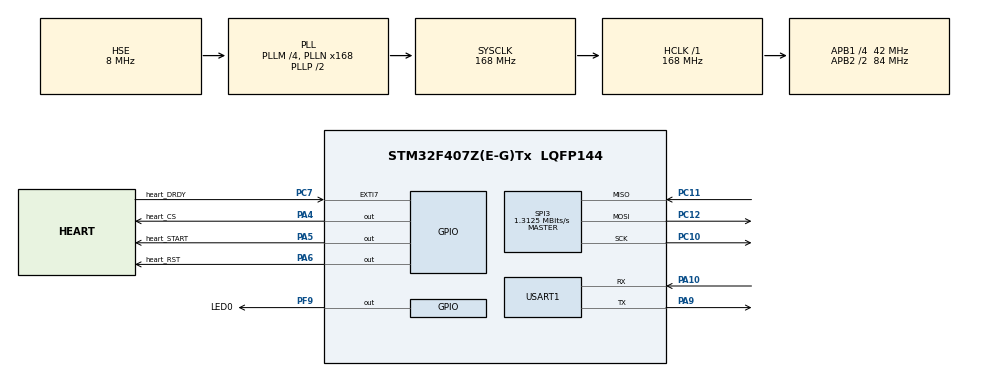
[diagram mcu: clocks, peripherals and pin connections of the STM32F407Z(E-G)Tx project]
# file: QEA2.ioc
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Dma.Request0=USART1_RX
Dma.Request1=USART1_TX
Dma.USART1_RX.0.Direction=DMA_PERIPH_TO_MEMORY
Dma.USART1_RX.0.FIFOMode=DMA_FIFOMODE_DISABLE
Dma.USART1_RX.0.Instance=DMA2_Stream2
Dma.USART1_RX.0.MemDataAlignment=DMA_MDATAALIGN_BYTE
Dma.USART1_RX.0.MemInc=DMA_MINC_ENABLE
Dma.USART1_RX.0.Mode=DMA_NORMAL
Dma.USART1_RX.0.PeriphDataAlignment=DMA_PDATAALIGN_BYTE
Dma.USART1_RX.0.PeriphInc=DMA_PINC_DISABLE
Dma.USART1_RX.0.Priority=DMA_PRIORITY_MEDIUM
Dma.USART1_TX.1.Direction=DMA_MEMORY_TO_PERIPH
Dma.USART1_TX.1.FIFOMode=DMA_FIFOMODE_DISABLE
Dma.USART1_TX.1.Instance=DMA2_Stream7
Dma.USART1_TX.1.MemDataAlignment=DMA_MDATAALIGN_BYTE
Dma.USART1_TX.1.MemInc=DMA_MINC_ENABLE
Dma.USART1_TX.1.Mode=DMA_NORMAL
Dma.USART1_TX.1.PeriphDataAlignment=DMA_PDATAALIGN_BYTE
Dma.USART1_TX.1.PeriphInc=DMA_PINC_DISABLE
Dma.USART1_TX.1.Priority=DMA_PRIORITY_MEDIUM
Mcu.Family=STM32F4
Mcu.Name=STM32F407Z(E-G)Tx
Mcu.Package=LQFP144
NVIC.DMA2_Stream2_IRQn=true\:0\:0\:false\:false\:true\:false\:true\:true
NVIC.DMA2_Stream7_IRQn=true\:0\:0\:false\:false\:true\:false\:true\:true
NVIC.EXTI9_5_IRQn=true\:1\:0\:true\:false\:true\:true\:true\:true
NVIC.PriorityGroup=NVIC_PRIORITYGROUP_4
NVIC.SPI3_IRQn=true\:2\:0\:true\:false\:true\:true\:true\:true
NVIC.USART1_IRQn=true\:0\:0\:false\:false\:true\:true\:true\:true
PA10.Mode=Asynchronous
PA10.Signal=USART1_RX
PA13.Mode=Serial_Wire
PA13.Signal=SYS_JTMS-SWDIO
PA14.Mode=Serial_Wire
PA14.Signal=SYS_JTCK-SWCLK
PA4.GPIO_Label=heart_CS
PA4.GPIO_Speed=GPIO_SPEED_FREQ_HIGH
PA4.Signal=GPIO_Output
PA5.GPIO_Label=heart_START
PA5.GPIO_Speed=GPIO_SPEED_FREQ_HIGH
PA5.Signal=GPIO_Output
PA6.GPIO_Label=heart_RST
PA6.GPIO_Speed=GPIO_SPEED_FREQ_HIGH
PA6.PinState=GPIO_PIN_SET
PA6.Signal=GPIO_Output
PA9.Mode=Asynchronous
PA9.Signal=USART1_TX
PC10.Mode=Full_Duplex_Master
PC10.Signal=SPI3_SCK
PC11.Mode=Full_Duplex_Master
PC11.Signal=SPI3_MISO
PC12.Mode=Full_Duplex_Master
PC12.Signal=SPI3_MOSI
PC7.GPIO_Label=heart_DRDY
PC7.GPIO_ModeDefaultEXTI=GPIO_MODE_IT_FALLING
PC7.GPIO_PuPd=GPIO_PULLUP
PC7.Signal=GPXTI7
PF9.GPIO_Label=LED0
PF9.GPIO_Speed=GPIO_SPEED_FREQ_HIGH
PF9.Signal=GPIO_Output
PH0-OSC_IN.Mode=HSE-External-Oscillator
PH0-OSC_IN.Signal=RCC_OSC_IN
PH1-OSC_OUT.Mode=HSE-External-Oscillator
PH1-OSC_OUT.Signal=RCC_OSC_OUT
ProjectManager.HeapSize=0x200
ProjectManager.StackSize=0x400
ProjectManager.TargetToolchain=STM32CubeIDE
RCC.48MHZClocksFreq_Value=84000000
RCC.AHBFreq_Value=168000000
RCC.APB1CLKDivider=RCC_HCLK_DIV4
RCC.APB1Freq_Value=42000000
RCC.APB1TimFreq_Value=84000000
RCC.APB2CLKDivider=RCC_HCLK_DIV2
RCC.APB2Freq_Value=84000000
RCC.APB2TimFreq_Value=168000000
RCC.CortexFreq_Value=168000000
RCC.HCLKFreq_Value=168000000
RCC.HSE_VALUE=8000000
RCC.HSI_VALUE=16000000
RCC.LSE_VALUE=32768
RCC.PLLM=4
RCC.PLLN=168
RCC.PLLSourceVirtual=RCC_PLLSOURCE_HSE
RCC.SYSCLKFreq_VALUE=168000000
RCC.SYSCLKSource=RCC_SYSCLKSOURCE_PLLCLK
RCC.VCOOutputFreq_Value=336000000
SPI3.BaudRatePrescaler=SPI_BAUDRATEPRESCALER_32
SPI3.CLKPhase=SPI_PHASE_2EDGE
SPI3.CalculateBaudRate=1.3125 MBits/s
SPI3.Direction=SPI_DIRECTION_2LINES
SPI3.Mode=SPI_MODE_MASTER
SPI3.VirtualType=VM_MASTER
USART1.VirtualMode=VM_ASYNC
board=custom

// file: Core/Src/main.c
/* USER CODE BEGIN Header */
/**
  ******************************************************************************
  * @file           : main.c
  * @brief          : Main program body
  ******************************************************************************
  * @attention
  *
  * Copyright (c) 2023 STMicroelectronics.
  * All rights reserved.
  *
  * This software is licensed under terms that can be found in the LICENSE file
  * in the root directory of this software component.
  * If no LICENSE file comes with this software, it is provided AS-IS.
  *
  ******************************************************************************
  */
/* USER CODE END Header */
#include "main.h"
#include "dma.h"
#include "spi.h"
#include "usart.h"
#include "gpio.h"

/* USER CODE BEGIN Includes */
#include <stdio.h>
#include "ADS1292.h"
#include "IIRFilter.h"
#include "FIRFilter.h"
/* USER CODE END Includes */

void SystemClock_Config(void);

/* USER CODE BEGIN 0 */
uint8_t intBuffer[] = "DRDY Toggle!\n";
int loop = 25;
int count = 0;

void HAL_GPIO_EXTI_Callback(uint16_t GPIO_Pin)
{
    if(GPIO_Pin == GPIO_PIN_7)
    {
        ADS1292ReadData();
        IIRFilter(heartRawData);
        FIRFilter(IIR_Result);
    }
    //HAL_GPIO_TogglePin(LED0_GPIO_Port,LED0_Pin);
}

int fputc(int c,FILE *stream)
{
    uint8_t ch[1]={c};
    HAL_UART_Transmit(&huart1,ch,1,0xFFFF);
    return c;
}
/* USER CODE END 0 */

int main(void)
{

  /* MCU Configuration--------------------------------------------------------*/

  /* Reset of all peripherals, Initializes the Flash interface and the Systick. */
  HAL_Init();

  /* Configure the system clock */
  SystemClock_Config();

  /* Initialize all configured peripherals */
  MX_GPIO_Init();
  MX_DMA_Init();
  MX_SPI3_Init();
  MX_USART1_UART_Init();
  /* USER CODE BEGIN 2 */
    FIRInit();
    ADS1292Init();
  /* USER CODE END 2 */

  /* Infinite loop */
  while (1)
  {

  }
}

void SystemClock_Config(void)
{
  RCC_OscInitTypeDef RCC_OscInitStruct = {0};
  RCC_ClkInitTypeDef RCC_ClkInitStruct = {0};

  /** Configure the main internal regulator output voltage
  */
  __HAL_RCC_PWR_CLK_ENABLE();
  __HAL_PWR_VOLTAGESCALING_CONFIG(PWR_REGULATOR_VOLTAGE_SCALE1);

  /** Initializes the RCC Oscillators according to the specified parameters
  * in the RCC_OscInitTypeDef structure.
  */
  RCC_OscInitStruct.OscillatorType = RCC_OSCILLATORTYPE_HSE;
  RCC_OscInitStruct.HSEState = RCC_HSE_ON;
  RCC_OscInitStruct.PLL.PLLState = RCC_PLL_ON;
  RCC_OscInitStruct.PLL.PLLSource = RCC_PLLSOURCE_HSE;
  RCC_OscInitStruct.PLL.PLLM = 4;
  RCC_OscInitStruct.PLL.PLLN = 168;
  RCC_OscInitStruct.PLL.PLLP = RCC_PLLP_DIV2;
  RCC_OscInitStruct.PLL.PLLQ = 4;
  if (HAL_RCC_OscConfig(&RCC_OscInitStruct) != HAL_OK)
  {
    Error_Handler();
  }

  /** Initializes the CPU, AHB and APB buses clocks
  */
  RCC_ClkInitStruct.ClockType = RCC_CLOCKTYPE_HCLK|RCC_CLOCKTYPE_SYSCLK
                              |RCC_CLOCKTYPE_PCLK1|RCC_CLOCKTYPE_PCLK2;
  RCC_ClkInitStruct.SYSCLKSource = RCC_SYSCLKSOURCE_PLLCLK;
  RCC_ClkInitStruct.AHBCLKDivider = RCC_SYSCLK_DIV1;
  RCC_ClkInitStruct.APB1CLKDivider = RCC_HCLK_DIV4;
  RCC_ClkInitStruct.APB2CLKDivider = RCC_HCLK_DIV2;

  if (HAL_RCC_ClockConfig(&RCC_ClkInitStruct, FLASH_LATENCY_5) != HAL_OK)
  {
    Error_Handler();
  }
}

void Error_Handler(void)
{
  /* USER CODE BEGIN Error_Handler_Debug */
  /* User can add his own implementation to report the HAL error return state */
  __disable_irq();
//  while (1)
//  {
//  }
  /* USER CODE END Error_Handler_Debug */
}
